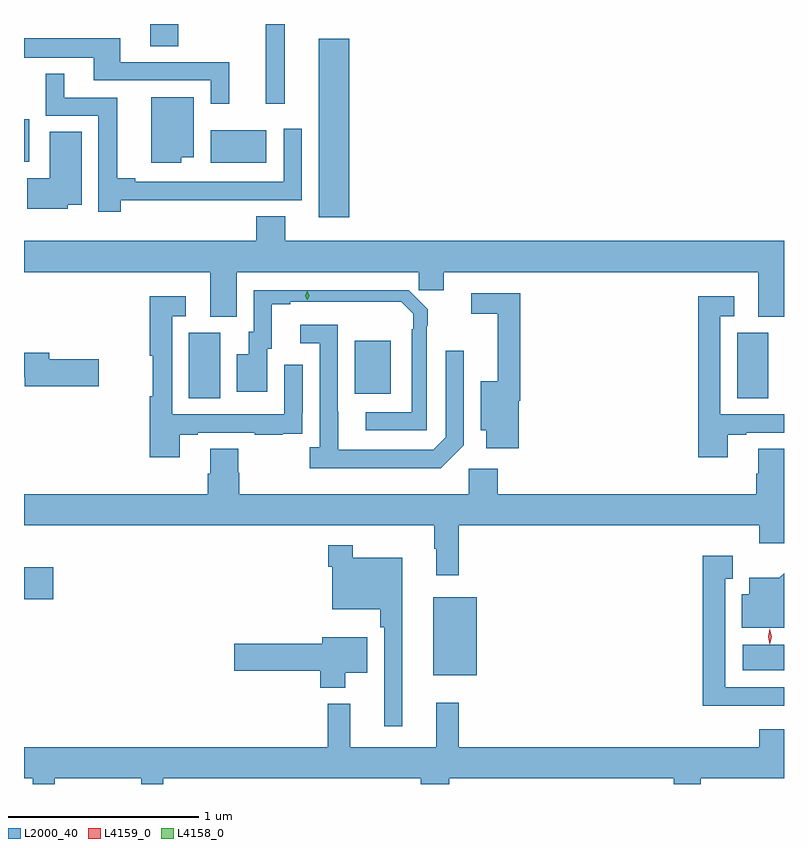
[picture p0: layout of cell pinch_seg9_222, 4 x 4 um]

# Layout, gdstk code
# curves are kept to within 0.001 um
import gdstk
lib = gdstk.Library(unit=1e-6, precision=1e-09)
def R(c, l, rs):  # rectangles x0, y0, x1, y1
    for r in rs: c.add(gdstk.rectangle(r[:2], r[2:], *l))
def P(c, l, *ps):  # polygons
    for p in ps: c.add(gdstk.Polygon(p, *l))
L2000_40 = (2000, 40)
L4158_0 = (4158, 0)
L4159_0 = (4159, 0)

pinch_seg9_222 = lib.new_cell('pinch_seg9_222')
R(pinch_seg9_222, L2000_40, [(617.045,1206.287,617.272,1206.697), (618.672,1206.314,618.89,1206.448), (614.89,1206.686,615.043,1206.856), (615.758,1207.744,615.922,1208.088), (618.644,1207.744,618.808,1208.088), (616.631,1207.769,616.819,1208.047), (616.442,1208.697,616.601,1209.637), (615.872,1208.984,616.165,1209.154), (614.89,1208.99,614.917,1209.214), (616.163,1209.294,616.262,1209.714), (615.554,1209.598,615.702,1209.714)])
P(pinch_seg9_222, L2000_40, [(615.971,1209.513),(615.397,1209.513),(615.397,1209.64),(614.89,1209.64),(614.89,1209.536),(615.257,1209.536),(615.257,1209.417),(615.873,1209.417),(615.873,1209.294),(615.971,1209.294)],
  [(615.398,1208.786),(616.028,1208.786),(616.028,1208.787),(616.353,1208.787),(616.353,1209.163),(616.257,1209.163),(616.257,1208.883),(615.475,1208.883),(615.475,1208.903),(615.38,1208.903),(615.38,1209.327),(615.103,1209.327),(615.103,1209.451),(615.005,1209.451),(615.005,1209.231),(615.282,1209.231),(615.282,1208.727),(615.398,1208.727)],
  [(615.718,1209.014),(615.784,1209.014),(615.784,1209.328),(615.56,1209.328),(615.56,1208.984),(615.718,1208.984)],
  [(615.12,1208.762),(615.193,1208.762),(615.193,1209.146),(615.026,1209.146),(615.026,1208.902),(614.908,1208.902),(614.908,1208.741),(615.12,1208.741)],
  [(616.009,1208.408),(616.968,1208.408),(616.968,1208.313),(617.098,1208.313),(617.098,1208.408),(618.755,1208.408),(618.755,1208.173),(618.89,1208.173),(618.89,1208.572),(616.264,1208.572),(616.264,1208.702),(616.112,1208.702),(616.112,1208.572),(614.89,1208.572),(614.89,1208.408),(615.869,1208.408),(615.869,1208.173),(616.009,1208.173)],
  [(617.01,1208.127),(617.016,1208.127),(617.016,1208.213),(616.915,1208.313),(616.098,1208.313),(616.098,1208.094),(616.073,1208.094),(616.073,1207.975),(616.01,1207.975),(616.01,1207.779),(616.171,1207.779),(616.171,1208.004),(616.195,1208.004),(616.195,1208.239),(616.291,1208.239),(616.291,1208.253),(616.876,1208.252),(616.939,1208.188),(616.939,1208.107),(616.931,1208.107),(616.931,1207.671),(616.689,1207.671),(616.689,1207.575),(617.01,1207.575)],
  [(617.495,1207.73),(617.501,1207.73),(617.501,1208.298),(617.244,1208.298),(617.244,1208.19),(617.384,1208.19),(617.384,1207.834),(617.294,1207.834),(617.294,1207.577),(617.324,1207.577),(617.324,1207.482),(617.495,1207.482)],
  [(618.595,1207.551),(618.691,1207.551),(618.691,1207.563),(618.89,1207.563),(618.89,1207.659),(618.555,1207.659),(618.555,1208.175),(618.628,1208.175),(618.628,1208.281),(618.439,1208.281),(618.439,1207.434),(618.595,1207.434)],
  [(615.709,1207.551),(615.805,1207.551),(615.805,1207.563),(616.105,1207.563),(616.105,1207.551),(616.253,1207.551),(616.253,1207.557),(616.355,1207.557),(616.355,1207.666),(616.356,1207.666),(616.356,1207.921),(616.26,1207.921),(616.26,1207.659),(615.669,1207.659),(615.669,1208.175),(615.742,1208.175),(615.742,1208.281),(615.553,1208.281),(615.553,1207.968),(615.568,1207.968),(615.568,1207.756),(615.553,1207.756),(615.553,1207.434),(615.709,1207.434)],
  [(617.205,1207.497),(617.205,1207.993),(617.109,1207.993),(617.109,1207.539),(617.043,1207.473),(616.543,1207.473),(616.542,1208.131),(616.344,1208.131),(616.344,1208.034),(616.446,1208.034),(616.446,1207.486),(616.395,1207.486),(616.395,1207.376),(617.084,1207.376)],
  [(615.283,1207.95),(615.022,1207.95),(615.022,1207.984),(614.89,1207.984),(614.89,1207.855),(614.894,1207.855),(614.894,1207.808),(615.283,1207.808)],
  [(617.177,1207.076),(618.761,1207.076),(618.761,1206.981),(618.89,1206.981),(618.89,1207.478),(618.755,1207.478),(618.755,1207.346),(618.743,1207.346),(618.743,1207.24),(617.384,1207.24),(617.384,1207.372),(617.232,1207.372),(617.232,1207.24),(616.022,1207.24),(616.022,1207.353),(616.017,1207.353),(616.017,1207.478),(615.869,1207.478),(615.869,1207.346),(615.857,1207.346),(615.857,1207.24),(614.89,1207.24),(614.89,1207.076),(617.049,1207.076),(617.049,1206.953),(617.06,1206.953),(617.06,1206.813),(617.177,1206.813)],
  [(616.882,1206.904),(616.621,1206.904),(616.621,1206.97),(616.492,1206.97),(616.492,1206.857),(616.512,1206.857),(616.512,1206.635),(616.765,1206.635),(616.765,1206.539),(616.785,1206.539),(616.785,1206.018),(616.882,1206.018)],
  [(618.702,1206.126),(618.89,1206.126),(618.89,1206.222),(618.58,1206.222),(618.58,1206.795),(618.619,1206.795),(618.619,1206.916),(618.462,1206.916),(618.462,1206.125),(618.702,1206.125)],
  [(618.89,1206.824),(618.865,1206.799),(618.707,1206.799),(618.707,1206.712),(618.668,1206.712),(618.668,1206.536),(618.89,1206.536)],
  [(616.582,1206.299),(616.696,1206.299),(616.696,1206.487),(616.46,1206.487),(616.46,1206.452),(615.996,1206.452),(615.996,1206.31),(616.448,1206.31),(616.448,1206.221),(616.582,1206.221)],
  [(615.053,1205.744),(615.506,1205.744),(615.506,1205.714),(615.623,1205.714),(615.623,1205.744),(616.979,1205.744),(616.979,1205.714),(617.127,1205.714),(617.127,1205.744),(618.311,1205.744),(618.311,1205.714),(618.451,1205.714),(618.451,1205.744),(618.89,1205.744),(618.89,1206.001),(618.761,1206.001),(618.761,1205.908),(617.177,1205.908),(617.177,1206.142),(617.06,1206.142),(617.06,1205.908),(616.607,1205.908),(616.607,1206.136),(616.489,1206.136),(616.489,1205.908),(614.89,1205.908),(614.89,1205.744),(614.935,1205.744),(614.935,1205.714),(615.053,1205.714)])
P(pinch_seg9_222, L4158_0, [(616.38,1208.259),(616.38,1208.259),(616.37,1208.284),(616.38,1208.309),(616.38,1208.309),(616.38,1208.309),(616.39,1208.284),(616.38,1208.259)])
P(pinch_seg9_222, L4159_0, [(618.816,1206.45),(618.816,1206.45),(618.806,1206.49),(618.816,1206.531),(618.816,1206.531),(618.816,1206.531),(618.826,1206.49),(618.816,1206.45)])

lib.write_gds('pinch_seg9_222.gds')
